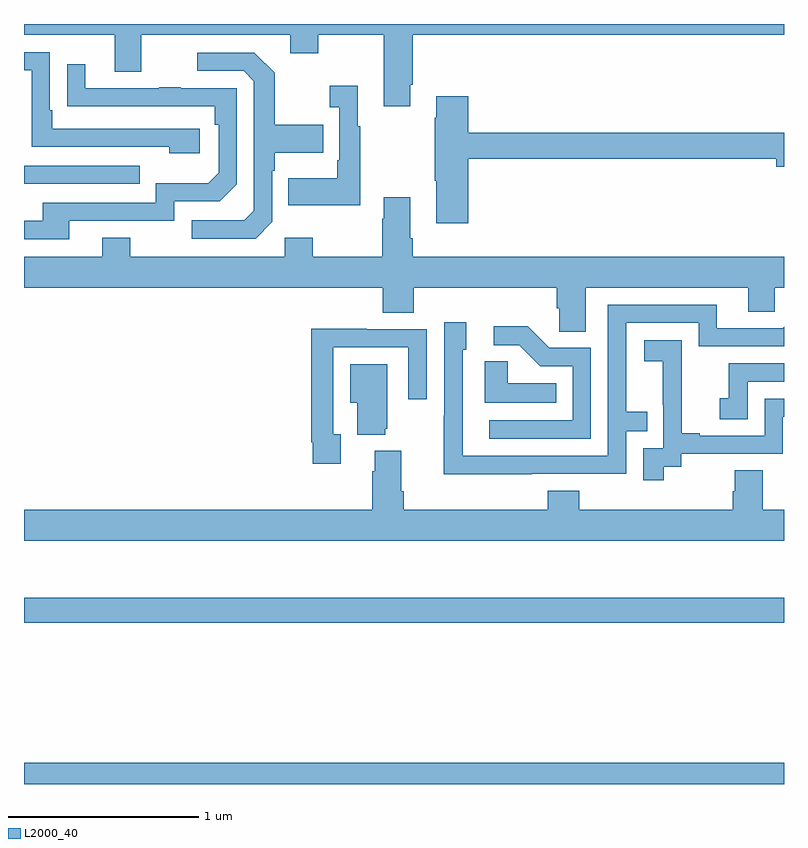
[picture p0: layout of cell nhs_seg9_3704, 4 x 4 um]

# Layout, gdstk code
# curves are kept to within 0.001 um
import gdstk
lib = gdstk.Library(unit=1e-6, precision=1e-09)
def R(c, l, rs):  # rectangles x0, y0, x1, y1
    for r in rs: c.add(gdstk.rectangle(r[:2], r[2:], *l))
def P(c, l, *ps):  # polygons
    for p in ps: c.add(gdstk.Polygon(p, *l))
L2000_40 = (2000, 40)

nhs_seg9_3704 = lib.new_cell('nhs_seg9_3704')
R(nhs_seg9_3704, L2000_40, [(323,1168.5,327,1168.612), (323,1169.35,327,1169.479), (323,1171.659,323.609,1171.755)])
P(nhs_seg9_3704, L2000_40, [(325.033,1172.179),(325.046,1172.179),(325.046,1172.444),(327,1172.444),(327,1172.5),(323,1172.5),(323,1172.444),(323.477,1172.444),(323.477,1172.25),(323.617,1172.25),(323.617,1172.444),(324.401,1172.444),(324.401,1172.345),(324.549,1172.345),(324.549,1172.444),(324.893,1172.444),(324.893,1172.067),(325.033,1172.067)],
  [(323.926,1171.95),(323.149,1171.95),(323.149,1172.047),(323.136,1172.047),(323.136,1172.352),(323,1172.352),(323,1172.256),(323.04,1172.256),(323.04,1171.854),(323.765,1171.854),(323.765,1171.82),(323.926,1171.82)],
  [(324.306,1171.458),(324.306,1171.727),(324.319,1171.727),(324.319,1171.823),(324.575,1171.823),(324.575,1171.971),(324.319,1171.971),(324.319,1172.243),(324.213,1172.349),(323.913,1172.349),(323.913,1172.253),(324.156,1172.253),(324.21,1172.199),(324.21,1171.518),(324.159,1171.467),(323.883,1171.467),(323.883,1171.371),(324.219,1171.371)],
  [(323.239,1171.464),(323.79,1171.464),(323.79,1171.566),(324.03,1171.566),(324.12,1171.656),(324.12,1172.163),(323.825,1172.163),(323.825,1172.168),(323.713,1172.168),(323.713,1172.163),(323.323,1172.163),(323.323,1172.287),(323.227,1172.287),(323.227,1172.068),(324.004,1172.067),(324.004,1171.97),(324.024,1171.97),(324.024,1171.716),(323.971,1171.663),(323.694,1171.663),(323.694,1171.56),(323.099,1171.56),(323.099,1171.464),(323,1171.464),(323,1171.368),(323.239,1171.368)],
  [(324.769,1171.963),(324.757,1171.963),(324.757,1172.176),(324.609,1172.176),(324.609,1172.063),(324.66,1172.063),(324.66,1171.783),(324.648,1171.783),(324.648,1171.687),(324.391,1171.687),(324.391,1171.547),(324.769,1171.547)],
  [(325.337,1171.792),(326.96,1171.792),(326.96,1171.75),(327,1171.75),(327,1171.928),(325.337,1171.928),(325.337,1172.119),(325.169,1172.119),(325.169,1172.006),(325.162,1172.006),(325.162,1171.675),(325.169,1171.675),(325.169,1171.452),(325.337,1171.452)],
  [(325.957,1171.112),(326.813,1171.112),(326.813,1170.985),(326.952,1170.985),(326.952,1171.112),(327,1171.112),(327,1171.276),(325.046,1171.276),(325.046,1171.372),(325.033,1171.372),(325.033,1171.588),(324.893,1171.588),(324.893,1171.475),(324.886,1171.475),(324.886,1171.276),(324.519,1171.276),(324.519,1171.375),(324.372,1171.375),(324.372,1171.276),(323.559,1171.276),(323.559,1171.375),(323.411,1171.375),(323.411,1171.276),(323,1171.276),(323,1171.112),(324.887,1171.112),(324.887,1170.979),(325.052,1170.979),(325.052,1171.112),(325.805,1171.112),(325.805,1171.003),(325.818,1171.003),(325.818,1170.88),(325.957,1170.88)],
  [(325.673,1170.132),(326.169,1170.132),(326.169,1170.357),(326.279,1170.357),(326.279,1170.458),(326.169,1170.458),(326.169,1170.927),(326.55,1170.927),(326.55,1170.804),(327,1170.804),(327,1170.906),(326.994,1170.9),(326.647,1170.9),(326.647,1171.023),(326.073,1171.023),(326.073,1170.228),(325.308,1170.228),(325.308,1170.786),(325.327,1170.786),(325.327,1170.931),(325.212,1170.931),(325.212,1170.437),(325.21,1170.437),(325.21,1170.131)],
  [(325.983,1170.795),(325.764,1170.795),(325.651,1170.908),(325.473,1170.908),(325.473,1170.81),(325.607,1170.81),(325.718,1170.699),(325.887,1170.699),(325.887,1170.414),(325.449,1170.414),(325.449,1170.318),(325.983,1170.318)],
  [(324.667,1170.342),(324.627,1170.342),(324.627,1170.798),(325.023,1170.798),(325.023,1170.525),(325.119,1170.525),(325.119,1170.894),(324.803,1170.894),(324.803,1170.896),(324.511,1170.896),(324.511,1170.298),(324.519,1170.298),(324.519,1170.186),(324.667,1170.186)],
  [(326.368,1170.169),(326.46,1170.169),(326.46,1170.237),(326.994,1170.237),(326.994,1170.432),(327,1170.432),(327,1170.528),(326.898,1170.528),(326.898,1170.333),(326.557,1170.333),(326.557,1170.346),(326.462,1170.346),(326.462,1170.629),(326.463,1170.629),(326.463,1170.835),(326.265,1170.835),(326.265,1170.725),(326.363,1170.725),(326.363,1170.497),(326.364,1170.497),(326.364,1170.267),(326.259,1170.267),(326.259,1170.099),(326.368,1170.099)],
  [(325.802,1170.61),(325.545,1170.61),(325.545,1170.725),(325.424,1170.725),(325.424,1170.506),(325.802,1170.506)],
  [(326.808,1170.618),(327,1170.618),(327,1170.714),(326.71,1170.714),(326.71,1170.529),(326.661,1170.529),(326.661,1170.42),(326.808,1170.42)],
  [(324.902,1170.369),(324.913,1170.369),(324.913,1170.709),(324.716,1170.709),(324.716,1170.506),(324.755,1170.506),(324.755,1170.338),(324.902,1170.338)],
  [(327,1169.944),(326.889,1169.944),(326.889,1170.152),(326.741,1170.152),(326.741,1170.042),(326.729,1170.042),(326.729,1169.944),(325.922,1169.944),(325.922,1170.043),(325.757,1170.043),(325.757,1169.944),(324.998,1169.944),(324.998,1170.04),(324.985,1170.04),(324.985,1170.253),(324.845,1170.253),(324.845,1170.146),(324.833,1170.146),(324.833,1169.944),(323,1169.944),(323,1169.78),(327,1169.78)])

lib.write_gds('nhs_seg9_3704.gds')
